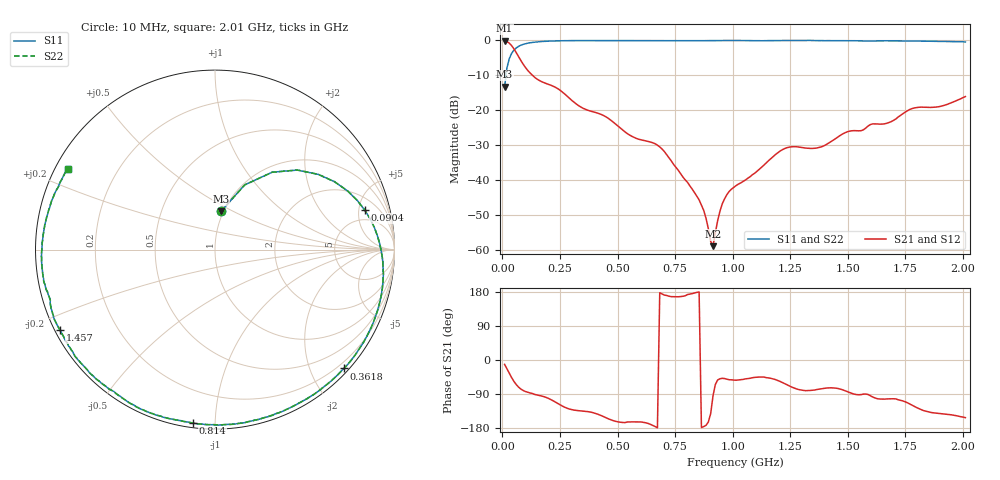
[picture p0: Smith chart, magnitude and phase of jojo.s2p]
# MHz S MA R 50
!  freq  S11  S21  S12  S22
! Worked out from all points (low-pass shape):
!   200 points, 10 MHz to 2.01 GHz, reference 50 ohm
!   highest |S21| = -0.21 dB at 10 MHz (marker M1); lowest = -58.9 dB at 914.5 MHz (marker M2)
!   |S21| within 3 dB of the highest: start of sweep to 56.36 MHz
!   lowest |S11| = -13.3 dB at 10 MHz (marker M3), VSWR 1.55, Z = 48.6 + j21.7 ohm
!   |S11| at or under -10 dB: start of sweep to 16.33 MHz
!   |S22| runs from -13.4 to -0.2 dB; largest |S21 - S12| = 0.0025
!   S11 on the Smith chart (normalised r, x): 10 MHz: 0.97, +0.43; 90.4 MHz: 3.36, +5.78; 361.8 MHz: 0.09, -2.55; 814 MHz: 0.02, -0.88; 1.457 GHz: 0.01, -0.24; 2.01 GHz: 0.04, +0.26
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10  0.2151 81.2  0.9766 -11.6  0.9767 -11.6  0.2149 81.2
20.05025  0.3967 65.4  0.9488 -23.3  0.9486 -23.3  0.3959 65.4
40.15075  0.6377 44.0  0.8299 -46.1  0.8299 -46.1  0.6375 44.1
60.25126  0.7659 29.6  0.6589 -64.7  0.6587 -64.6  0.766 29.6
90.40201  0.8622 14.8  0.4499 -80.4  0.4499 -80.4  0.8621 14.9
190.9045  0.9564 -13.0  0.2375 -99.0  0.2376 -98.9  0.957 -12.9
351.7085  0.9773 -41.4  0.105 -134.9  0.1052 -134.9  0.9777 -41.3
361.7588  0.9762 -42.7  0.1016 -135.4  0.1015 -135.4  0.9778 -42.8
512.5126  0.976 -63.6  0.0549 -164.2  0.05481 -164.2  0.9753 -63.6
683.3668  0.9784 -83.6  0.0296 177.4  0.0296 177.5  0.9779 -83.5
814.0201  0.974 -97.2  0.00822 173.8  0.0082 174.1  0.9737 -97.2
874.3216  0.9732 -103.3  0.00366 -175.7  0.00363 -175.7  0.9739 -103.2
904.4724  0.9757 -106.1  0.00132 -141.3  0.00134 -142.8  0.9761 -106.0
914.5226  0.9774 -107.0  0.00113 -94.8  0.00116 -96.0  0.9773 -107.0
954.7236  0.9775 -110.6  0.00455 -48.4  0.00453 -48.7  0.9787 -110.6
1015.025  0.9788 -115.8  0.0083 -53.3  0.00835 -53.1  0.9798 -115.8
1226.08  0.9778 -133.8  0.02807 -62.6  0.02805 -62.5  0.9783 -133.9
1346.683  0.9791 -143.4  0.02817 -79.8  0.02813 -79.8  0.9784 -143.3
1457.236  0.9733 -152.7  0.04104 -75.2  0.04102 -75.2  0.9738 -152.6
1678.342  0.9697 -171.3  0.06599 -102.5  0.06592 -102.5  0.9698 -171.3
1778.844  0.9634 178.9  0.1044 -119.3  0.1045 -119.4  0.9641 178.9
2010  0.9338 151.3  0.155 -152.1  0.155 -152.0  0.9343 151.3
